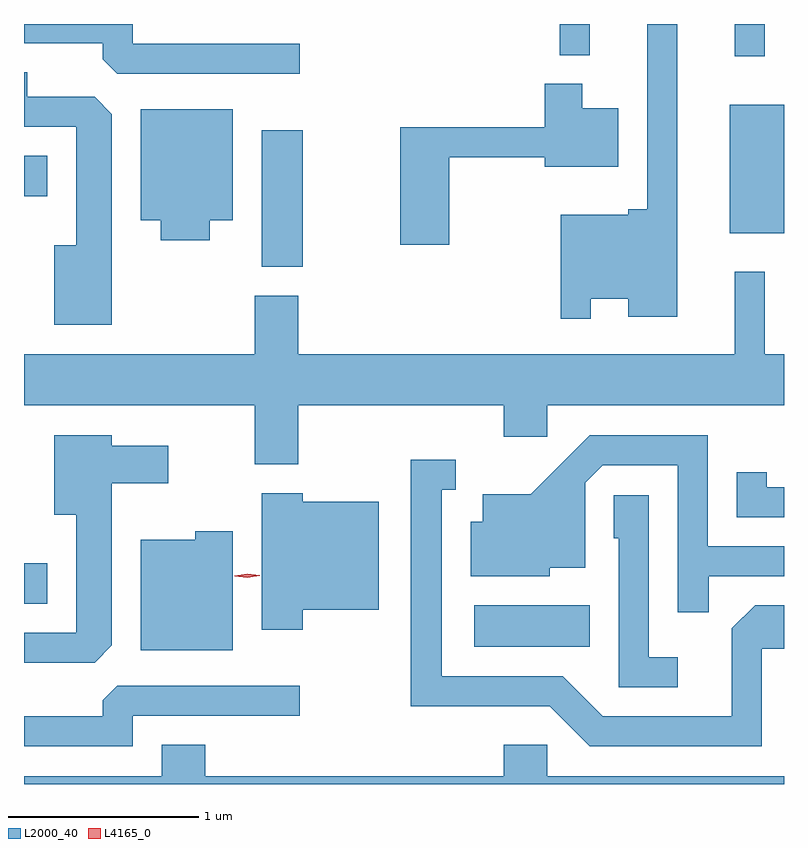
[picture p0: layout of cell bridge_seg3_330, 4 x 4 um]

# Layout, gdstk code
import gdstk
lib = gdstk.Library(unit=1e-6, precision=1e-09)
def R(c, l, rs):  # rectangles x0, y0, x1, y1
    for r in rs: c.add(gdstk.rectangle(r[:2], r[2:], *l))
def P(c, l, *ps):  # polygons
    for p in ps: c.add(gdstk.Polygon(p, *l))
L2000_40 = (2000, 40)
L4165_0 = (4165, 0)

bridge_seg3_330 = lib.new_cell('bridge_seg3_330')
R(bridge_seg3_330, L2000_40, [(541.256,1118.086,541.864,1118.304), (538.886,1118.311,539.009,1118.524), (540.136,1120.086,540.354,1120.804), (542.601,1120.261,542.886,1120.939), (538.886,1120.456,539.009,1120.669), (542.626,1121.193,542.784,1121.363), (541.706,1121.198,541.864,1121.363)])
P(bridge_seg3_330, L2000_40, [(540.338,1121.259),(539.459,1121.259),(539.459,1121.363),(538.886,1121.363),(538.886,1121.261),(539.301,1121.261),(539.301,1121.177),(539.377,1121.101),(540.338,1121.101)],
  [(541.869,1119.916),(542.066,1119.916),(542.066,1119.821),(542.324,1119.821),(542.324,1121.363),(542.166,1121.363),(542.166,1120.389),(542.066,1120.389),(542.066,1120.359),(541.711,1120.359),(541.711,1119.813),(541.869,1119.813)],
  [(539.349,1120.889),(539.259,1120.979),(538.904,1120.979),(538.904,1121.109),(538.886,1121.109),(538.886,1120.821),(539.161,1120.821),(539.161,1120.199),(539.046,1120.199),(539.046,1119.781),(539.349,1119.781)],
  [(541.124,1120.661),(541.626,1120.661),(541.626,1120.611),(542.014,1120.611),(542.014,1120.919),(541.824,1120.919),(541.824,1121.049),(541.626,1121.049),(541.626,1120.819),(540.866,1120.819),(540.866,1120.201),(541.124,1120.201)],
  [(539.864,1120.331),(539.984,1120.331),(539.984,1120.914),(539.501,1120.914),(539.501,1120.331),(539.606,1120.331),(539.606,1120.226),(539.864,1120.226)],
  [(540.329,1119.356),(541.411,1119.356),(541.411,1119.191),(541.639,1119.191),(541.639,1119.356),(542.886,1119.356),(542.886,1119.624),(542.784,1119.624),(542.784,1120.058),(542.626,1120.058),(542.626,1119.624),(540.329,1119.624),(540.329,1119.934),(540.101,1119.934),(540.101,1119.624),(538.886,1119.624),(538.886,1119.356),(540.101,1119.356),(540.101,1119.046),(540.329,1119.046)],
  [(539.349,1118.092),(539.349,1118.946),(539.644,1118.946),(539.644,1119.144),(539.349,1119.144),(539.349,1119.199),(539.046,1119.199),(539.046,1118.781),(539.161,1118.781),(539.161,1118.159),(538.886,1118.159),(538.886,1118.001),(539.259,1118.001)],
  [(542.489,1118.456),(542.886,1118.456),(542.886,1118.614),(542.484,1118.614),(542.484,1119.199),(541.864,1119.199),(541.554,1118.889),(541.301,1118.889),(541.301,1118.744),(541.236,1118.744),(541.236,1118.456),(541.654,1118.456),(541.654,1118.501),(541.839,1118.501),(541.839,1118.949),(541.932,1119.041),(542.326,1119.041),(542.326,1118.268),(542.489,1118.268)],
  [(542.769,1118.076),(542.886,1118.076),(542.886,1118.304),(542.734,1118.304),(542.611,1118.182),(542.611,1117.719),(541.932,1117.719),(541.722,1117.929),(541.084,1117.929),(541.084,1118.911),(541.158,1118.911),(541.158,1119.069),(540.921,1119.069),(540.921,1117.771),(541.654,1117.771),(541.864,1117.561),(542.769,1117.561)],
  [(542.886,1118.924),(542.794,1118.924),(542.794,1119.003),(542.636,1119.003),(542.636,1118.766),(542.886,1118.766)],
  [(540.354,1118.281),(540.754,1118.281),(540.754,1118.849),(540.354,1118.849),(540.354,1118.894),(540.136,1118.894),(540.136,1118.176),(540.354,1118.176)],
  [(542.328,1118.029),(542.174,1118.029),(542.174,1118.884),(541.991,1118.884),(541.991,1118.656),(542.016,1118.656),(542.016,1117.871),(542.328,1117.871)],
  [(539.984,1118.694),(539.786,1118.694),(539.786,1118.649),(539.501,1118.649),(539.501,1118.066),(539.984,1118.066)],
  [(539.459,1117.721),(540.338,1117.721),(540.338,1117.879),(539.377,1117.879),(539.301,1117.804),(539.301,1117.719),(538.886,1117.719),(538.886,1117.561),(539.459,1117.561)],
  [(542.886,1117.404),(541.639,1117.404),(541.639,1117.569),(541.411,1117.569),(541.411,1117.404),(539.839,1117.404),(539.839,1117.569),(539.611,1117.569),(539.611,1117.404),(538.886,1117.404),(538.886,1117.363),(542.886,1117.363)])
P(bridge_seg3_330, L4165_0, [(540.06,1118.449),(539.994,1118.457),(539.993,1118.458),(539.994,1118.458),(540.06,1118.469),(540.126,1118.461),(540.126,1118.46),(540.126,1118.46)])

lib.write_gds('bridge_seg3_330.gds')
